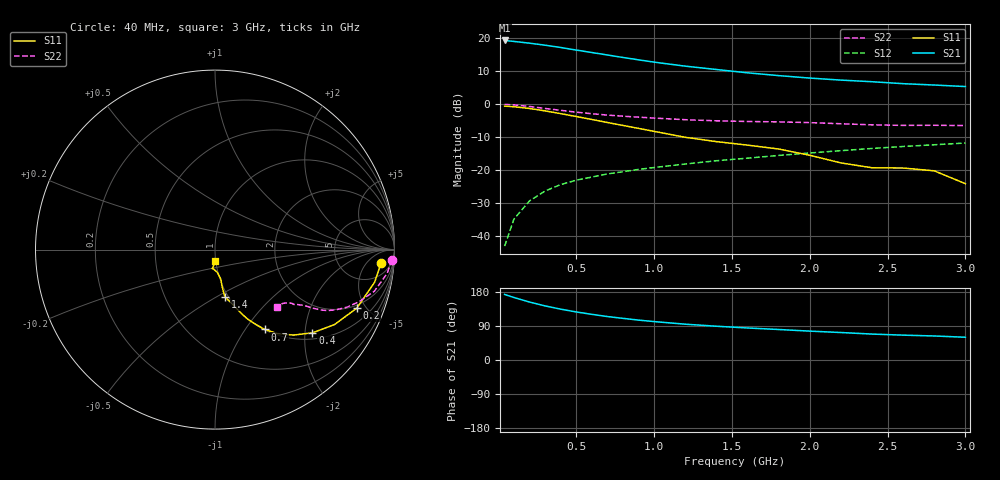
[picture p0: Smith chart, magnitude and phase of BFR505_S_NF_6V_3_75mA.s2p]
! Filename:  BFR505J.S2P  Version:  3.0
! Philips part #: BFR505  Date: Feb 1992
! Bias condition: Vce=6V, Ic=3.75mA
#  MHz  S  MA  R  50
! Freq  S11  S21  S12  S22  !GUM [dB]
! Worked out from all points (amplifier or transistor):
!   21 points, 40 MHz to 3 GHz, reference 50 ohm
!   highest |S21| = 19.3 dB at 40 MHz (marker M1)
!   |S21| within 3 dB of that: start of sweep to 512.3 MHz
!   unconditionally stable (mu >= 1): 1.773 GHz to end of sweep
!   at 300 MHz: K = 0.37, MSG = 22.1 dB, |S12| = -26.4 dB
!   at 1 GHz: K = 0.82, MSG = 16.0 dB, |S12| = -19.3 dB
!   at 3 GHz: K = 1.07, MAG = 7.0 dB, |S12| = -11.8 dB
!   lowest NFmin = 1.40 dB at 900 MHz
!   S11 on the Smith chart (normalised r, x): 40 MHz: 12, -13; 200 MHz: 1.79, -4.34; 400 MHz: 1.16, -2.19; 700 MHz: 1.01, -1.23; 1.4 GHz: 0.96, -0.55; 3 GHz: 0.99, -0.12
40  0.928 -4.7  9.181 173.0  0.007 87.4  0.985 -3.3
100  0.908 -11.5  8.876 164.9  0.018 82.5  0.969 -7.8
200  0.855 -22.4  8.351 152.9  0.034 75.7  0.918 -14.6
300  0.786 -32.1  7.782 142.7  0.048 71.8  0.856 -19.7
400  0.714 -40.5  7.184 134.2  0.06 68.7  0.802 -23.6
500  0.646 -47.5  6.568 126.8  0.07 67.2  0.752 -26.5
600  0.583 -53.4  6.031 120.5  0.078 66.0  0.712 -28.5
700  0.524 -58.1  5.53 114.7  0.087 65.7  0.679 -29.7
800  0.473 -61.5  5.072 109.9  0.094 65.5  0.653 -30.4
900  0.427 -64.9  4.671 105.3  0.102 65.5  0.632 -31.0
1000  0.385 -67.6  4.309 101.4  0.109 65.3  0.612 -31.4
1200  0.313 -72.8  3.747 94.5  0.123 65.5  0.578 -32.4
1400  0.269 -78.2  3.332 89.1  0.138 66.0  0.556 -33.5
1600  0.238 -78.7  2.968 84.5  0.151 66.3  0.543 -34.1
1800  0.208 -79.1  2.693 80.5  0.166 66.9  0.536 -34.8
2000  0.167 -78.9  2.47 76.2  0.181 66.4  0.522 -35.0
2200  0.128 -84.0  2.302 72.5  0.196 66.2  0.502 -36.1
2400  0.108 -94.7  2.175 68.4  0.212 65.5  0.483 -38.3
2600  0.107 -98.6  2.031 65.6  0.227 65.3  0.474 -40.9
2800  0.097 -96.2  1.938 63.4  0.241 65.5  0.476 -42.2
3000  0.062 -90.3  1.838 60.0  0.256 64.8  0.471 -42.5
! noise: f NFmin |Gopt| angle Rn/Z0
900  1.4  0.6  15  0.68
2000  2  0.492  45  0.51
